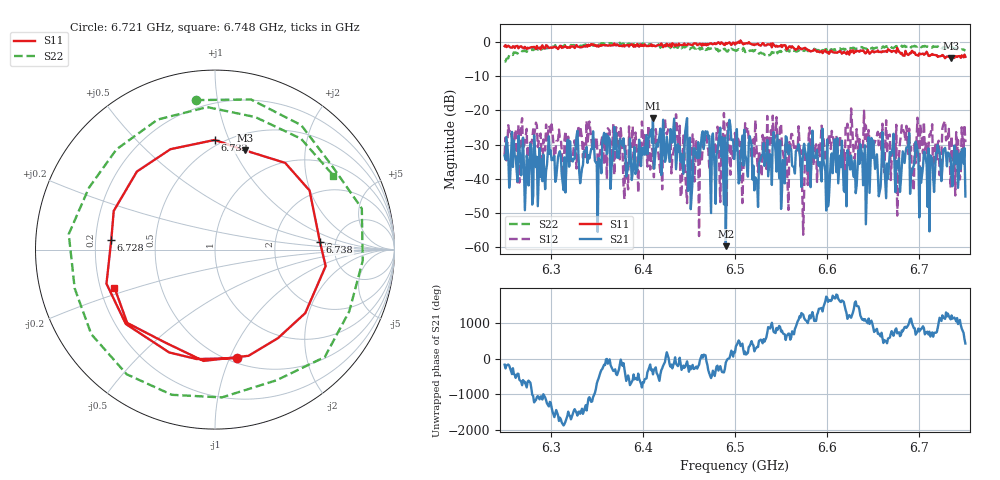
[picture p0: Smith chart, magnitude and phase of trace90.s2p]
# Hz S RI R 50
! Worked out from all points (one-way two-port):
!   401 points, 6.25 GHz to 6.75 GHz, reference 50 ohm
!   highest |S21| = -22.23 dB at 6.411 GHz (marker M1); lowest = -59.6 dB at 6.49 GHz (marker M2)
!   lowest |S11| = -4.8 dB at 6.734 GHz (marker M3), VSWR 3.73, Z = 33.4 + j55.3 ohm
!   |S11| at or under -10 dB: nowhere
!   |S22| runs from -5.7 to -0.1 dB; largest |S21 - S12| = 0.13
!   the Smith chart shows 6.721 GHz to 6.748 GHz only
!   S11 on the Smith chart (normalised r, x): 6.721 GHz: 0.54, -1.06; 6.728 GHz: 0.27, +0.04; 6.732 GHz: 0.46, +0.89; 6.738 GHz: 3.76, +0.50; 6.748 GHz: 0.26, -0.17
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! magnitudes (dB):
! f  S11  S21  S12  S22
! 6.25 GHz  -1.2  -33.2  -33.0  -5.7
! 6.334 GHz  -1.5  -36.9  -28.1  -1.2
! 6.381 GHz  -1.0  -32.8  -30.4  -0.3
! 6.411 GHz  -1.0  -22.2  -33.0  -1.0
! 6.418 GHz  -0.8  -27.3  -35.7  -1.0
! 6.451 GHz  -0.7  -27.9  -32.1  -2.1
! 6.47 GHz  -0.5  -26.1  -30.6  -2.2
! 6.49 GHz  -0.3  -59.6  -31.1  -2.4
! 6.495 GHz  -0.5  -24.5  -38.8  -2.3
! 6.5 GHz  -0.7  -31.9  -26.5  -2.4
! 6.522 GHz  -0.7  -39.5  -22.8  -2.3
! 6.568 GHz  -1.9  -31.0  -31.6  -2.7
! 6.576 GHz  -1.7  -31.6  -32.0  -2.4
! 6.584 GHz  -2.6  -25.9  -30.2  -2.3
! 6.668 GHz  -2.5  -32.2  -27.1  -1.0
! 6.721 GHz  -4.2  -31.7  -28.8  -1.5
! 6.728 GHz  -4.7  -30.9  -23.0  -1.7
! 6.732 GHz  -4.3  -32.5  -25.4  -1.7
! 6.734 GHz  -4.8  -33.9  -42.6  -1.5
! 6.738 GHz  -4.6  -30.2  -33.4  -1.8
! 6.748 GHz  -4.5  -35.5  -32.2  -2.2
! 6.75 GHz  -4.3  -45.1  -29.2  -2.5
